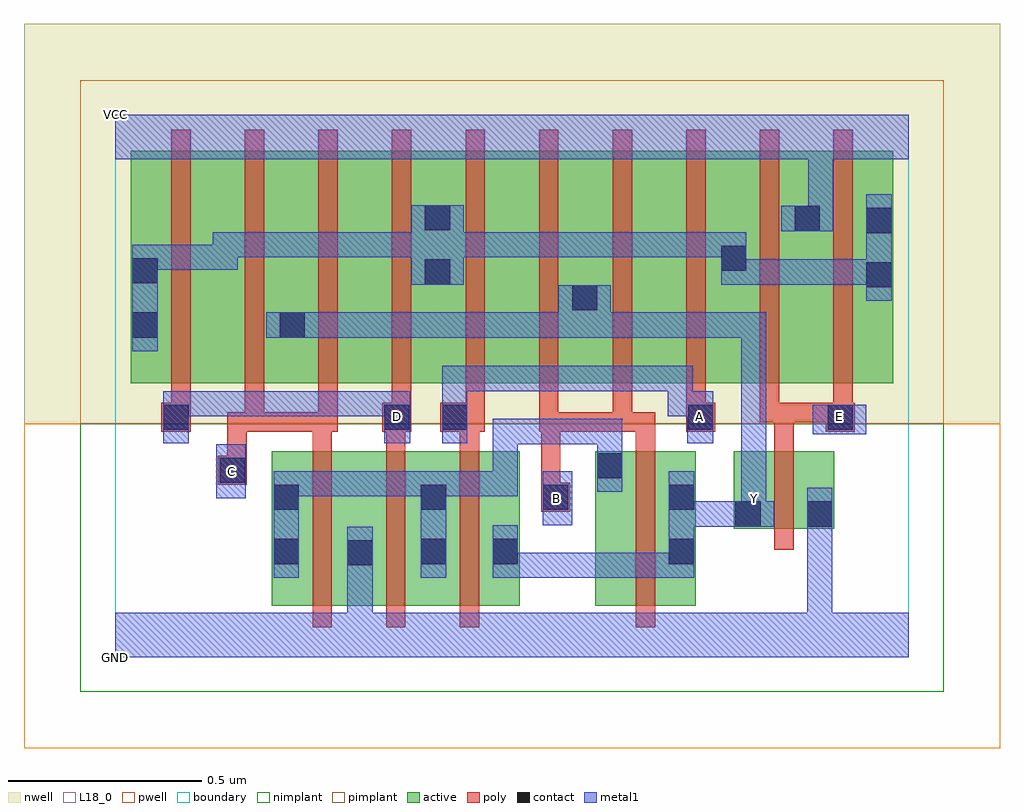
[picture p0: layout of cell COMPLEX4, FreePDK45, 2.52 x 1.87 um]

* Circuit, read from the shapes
.subckt COMPLEX4 A B C D E GND VCC Y
M1 GND C n1 VSUBS nfet w=0.4u l=0.05u
M2 n1 D GND VSUBS nfet w=0.4u l=0.05u
M3 Y A n1 VSUBS nfet w=0.4u l=0.05u
M4 Y B n1 VSUBS nfet w=0.4u l=0.05u
M5 GND E Y VSUBS nfet w=0.2u l=0.05u
M6 n2 D n3 n4 pfet w=0.6u l=0.05u
M7 Y C n2 n4 pfet w=0.6u l=0.05u
M8 n5 C Y n4 pfet w=0.6u l=0.05u
M9 n3 D n5 n4 pfet w=0.6u l=0.05u
M10 n6 A n3 n4 pfet w=0.6u l=0.05u
M11 Y B n6 n4 pfet w=0.6u l=0.05u
M12 n7 B Y n4 pfet w=0.6u l=0.05u
M13 n3 A n7 n4 pfet w=0.6u l=0.05u
M14 VCC E n3 n4 pfet w=0.6u l=0.05u m=2
.ends

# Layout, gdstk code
import gdstk
lib = gdstk.Library(unit=1e-6, precision=1e-09)
def R(c, l, rs):  # rectangles x0, y0, x1, y1
    for r in rs: c.add(gdstk.rectangle(r[:2], r[2:], *l))
def A(c, l, x, y, w, h, nx, ny, dx, dy):  # array of equal rectangles
    R(c, l, [(x+i*dx, y+j*dy, x+i*dx+w, y+j*dy+h) for i in range(nx) for j in range(ny)])
active = (1, 0)
pwell = (2, 0)
nwell = (3, 0)
nimplant = (4, 0)
pimplant = (5, 0)
poly = (9, 0)
contact = (10, 0)
metal1 = (11, 0)
L18_0 = (18, 0)
boundary = (235, 0)

complex4 = lib.new_cell('COMPLEX4')
R(complex4, active, [(0.405,0.132,0.67,0.532), (0.595,0.132,0.86,0.532), (0.595,0.132,0.67,0.492), (0.785,0.132,1.045,0.532), (1.24,0.132,1.5,0.532), (0.405,0.147,0.48,0.532), (0.785,0.147,0.86,0.492), (0.97,0.147,1.045,0.532), (1.24,0.147,1.315,0.532), (1.425,0.147,1.5,0.532), (1.597,0.332,1.672,0.532), (1.597,0.332,1.857,0.532), (1.782,0.332,1.857,0.532), (0.04,0.707,0.265,1.307), (0.04,0.707,0.145,1.2), (0.265,0.707,0.495,1.307), (0.42,0.707,0.495,1.07), (0.42,0.707,0.645,1.307), (0.645,0.707,0.87,1.307), (0.795,0.707,0.87,1.2), (0.795,0.707,1.025,1.307), (1.025,0.707,1.25,1.307), (1.175,0.707,1.405,1.307), (1.175,0.707,1.25,1.07), (1.405,0.707,1.635,1.307), (1.56,0.707,1.635,1.2), (1.56,0.707,1.825,1.307), (1.75,0.707,2.01,1.307), (1.75,0.707,1.825,1.267), (1.935,0.707,2.01,1.2)])
R(complex4, pwell, [(-0.235,-0.235,2.285,0.602)])
R(complex4, nwell, [(-0.235,0.602,2.285,1.635)])
R(complex4, nimplant, [(-0.09,-0.09,2.14,0.602)])
R(complex4, pimplant, [(-0.09,0.602,2.14,1.49)])
A(complex4, poly, 0.51, 0.077, 0.05, 0.51, 3, 1, 0.19, 0)
A(complex4, poly, 0.51, 0.537, 0.05, 0.095, 3, 1, 0.19, 0)
A(complex4, poly, 1.475, 0.607, 0.05, 0.095, 3, 1, 0.19, 0)
A(complex4, poly, 0.145, 0.652, 0.05, 0.71, 10, 1, 0.19, 0)
R(complex4, poly, [(1.345,0.077,1.395,0.587), (1.702,0.277,1.752,0.587), (1.1,0.375,1.175,0.45), (1.1,0.4,1.15,0.45), (1.1,0.4,1.15,0.45), (1.1,0.4,1.15,0.632), (0.265,0.445,0.34,0.52), (0.29,0.47,0.34,0.632), (1.345,0.537,1.395,0.632), (1.702,0.537,1.752,0.657), (0.12,0.582,0.195,0.657), (0.29,0.582,0.355,0.632), (0.305,0.582,0.355,0.632), (0.305,0.582,0.385,0.632), (0.335,0.582,0.385,0.632), (0.335,0.582,0.385,0.632), (0.335,0.582,0.385,0.702), (0.335,0.582,0.56,0.632), (0.51,0.582,0.575,0.632), (0.525,0.582,0.575,0.702), (0.69,0.582,0.765,0.657), (0.84,0.582,0.955,0.657), (1.095,0.582,1.145,0.702), (1.095,0.582,1.15,0.632), (1.1,0.582,1.15,0.632), (1.1,0.582,1.15,0.632), (1.1,0.582,1.335,0.632), (1.285,0.582,1.335,0.702), (1.285,0.582,1.395,0.632), (1.475,0.582,1.55,0.657), (1.835,0.582,1.91,0.657), (0.145,0.607,0.195,0.702), (0.715,0.607,0.765,0.702), (0.905,0.607,0.955,0.702), (1.665,0.607,1.752,0.657), (1.702,0.607,1.885,0.657), (1.702,0.607,1.752,0.657), (1.702,0.607,1.752,0.657)])
R(complex4, contact, [(0.6,0.237,0.665,0.302), (0.41,0.24,0.475,0.305), (0.79,0.24,0.855,0.305), (0.975,0.24,1.04,0.305), (1.43,0.24,1.495,0.305), (1.602,0.337,1.667,0.402), (1.787,0.337,1.852,0.402), (0.41,0.38,0.475,0.445), (0.79,0.38,0.855,0.445), (1.105,0.38,1.17,0.445), (1.43,0.38,1.495,0.445), (0.27,0.45,0.335,0.515), (1.245,0.462,1.31,0.527), (0.125,0.587,0.19,0.652), (0.695,0.587,0.76,0.652), (0.845,0.587,0.91,0.652), (1.48,0.587,1.545,0.652), (1.84,0.587,1.905,0.652), (0.045,0.825,0.11,0.89), (0.425,0.825,0.49,0.89), (1.18,0.895,1.245,0.96), (1.94,0.955,2.005,1.02), (0.8,0.962,0.865,1.027), (0.045,0.965,0.11,1.03), (1.565,0.997,1.63,1.062), (1.94,1.095,2.005,1.16), (1.755,1.1,1.82,1.165), (0.8,1.102,0.865,1.167)])
R(complex4, metal1, [(0,0,2.05,0.115), (0.6,0.05,0.665,0.267), (1.787,0.05,1.852,0.115), (1.787,0.05,1.852,0.115), (1.787,0.05,1.852,0.367), (0.6,0.202,0.665,0.337), (0.41,0.205,0.475,0.48), (0.79,0.205,0.855,0.48), (0.975,0.205,1.04,0.34), (0.975,0.205,1.142,0.27), (1.077,0.205,1.142,0.27), (1.077,0.205,1.28,0.27), (1.215,0.205,1.28,0.27), (1.215,0.205,1.28,0.27), (1.215,0.205,1.28,0.27), (1.215,0.205,1.495,0.27), (1.43,0.205,1.495,0.48), (1.43,0.205,1.495,0.27), (1.43,0.205,1.495,0.27), (1.43,0.205,1.495,0.27), (1.43,0.205,1.495,0.27), (1.787,0.302,1.852,0.367), (1.787,0.302,1.852,0.367), (1.787,0.302,1.852,0.437), (1.43,0.337,1.495,0.402), (1.43,0.337,1.495,0.402), (1.43,0.337,1.632,0.402), (1.567,0.337,1.702,0.402), (1.617,0.337,1.682,0.402), (1.617,0.337,1.682,0.477), (1.105,0.34,1.18,0.48), (0.262,0.41,0.337,0.55), (1.617,0.412,1.682,0.89), (0.41,0.415,0.475,0.48), (0.41,0.415,0.475,0.48), (0.41,0.415,0.662,0.48), (0.597,0.415,0.662,0.48), (0.597,0.415,0.662,0.48), (0.597,0.415,0.662,0.48), (0.597,0.415,0.855,0.48), (0.79,0.415,0.855,0.48), (0.79,0.415,0.855,0.48), (0.79,0.415,1.04,0.48), (0.975,0.415,1.04,0.615), (1.245,0.427,1.31,0.615), (0.975,0.55,1.047,0.615), (0.982,0.55,1.047,0.615), (0.982,0.55,1.31,0.615), (0.125,0.552,0.19,0.687), (0.695,0.552,0.762,0.687), (0.845,0.552,0.91,0.752), (1.477,0.552,1.545,0.687), (1.802,0.575,1.94,0.652), (0.125,0.622,0.317,0.687), (0.252,0.622,0.317,0.687), (0.252,0.622,0.327,0.687), (0.262,0.622,0.327,0.687), (0.262,0.622,0.525,0.687), (0.46,0.622,0.525,0.687), (0.46,0.622,0.525,0.687), (0.46,0.622,0.525,0.687), (0.46,0.622,0.662,0.687), (0.597,0.622,0.662,0.687), (0.597,0.622,0.76,0.687), (1.427,0.622,1.542,0.687), (1.427,0.622,1.492,0.752), (0.845,0.687,1.047,0.752), (0.982,0.687,1.047,0.752), (0.982,0.687,1.047,0.752), (0.982,0.687,1.047,0.752), (0.982,0.687,1.355,0.752), (1.29,0.687,1.355,0.752), (1.29,0.687,1.355,0.752), (1.29,0.687,1.355,0.752), (1.29,0.687,1.492,0.752), (0.045,0.79,0.11,1.065), (0.39,0.825,0.525,0.89), (0.46,0.825,0.525,0.89), (0.46,0.825,0.525,0.89), (0.46,0.825,0.692,0.89), (0.627,0.825,0.692,0.89), (0.627,0.825,0.692,0.89), (0.627,0.825,0.692,0.89), (0.627,0.825,0.895,0.89), (0.83,0.825,0.895,0.89), (0.83,0.825,0.895,0.89), (0.83,0.825,0.895,0.89), (0.83,0.825,1.072,0.89), (1.007,0.825,1.072,0.89), (1.007,0.825,1.072,0.89), (1.007,0.825,1.072,0.89), (1.007,0.825,1.21,0.89), (1.145,0.825,1.28,0.96), (1.215,0.825,1.28,0.89), (1.215,0.825,1.28,0.89), (1.215,0.825,1.492,0.89), (1.427,0.825,1.492,0.89), (1.427,0.825,1.492,0.89), (1.427,0.825,1.492,0.89), (1.427,0.825,1.682,0.89), (1.617,0.825,1.682,0.89), (1.94,0.92,2.005,1.195), (0.765,0.962,0.9,1.167), (1.565,0.962,1.63,1.097), (1.565,0.962,1.682,1.027), (1.617,0.962,1.682,1.027), (1.617,0.962,1.84,1.027), (1.775,0.962,2.005,1.027), (1.775,0.962,1.84,1.027), (1.775,0.962,1.84,1.027), (1.775,0.962,1.84,1.027), (1.775,0.962,1.84,1.027), (1.775,0.962,1.84,1.027), (0.045,1,0.11,1.065), (0.045,1,0.11,1.065), (0.045,1,0.317,1.065), (0.252,1,0.317,1.065), (0.252,1,0.317,1.097), (0.252,1.032,0.317,1.097), (0.252,1.032,0.327,1.097), (0.262,1.032,0.327,1.097), (0.262,1.032,0.525,1.097), (0.46,1.032,0.525,1.097), (0.46,1.032,0.525,1.097), (0.46,1.032,0.525,1.097), (0.46,1.032,0.662,1.097), (0.597,1.032,0.662,1.097), (0.597,1.032,0.662,1.097), (0.597,1.032,0.662,1.097), (0.597,1.032,0.83,1.097), (0.835,1.032,0.9,1.097), (0.835,1.032,0.9,1.097), (0.835,1.032,1.072,1.097), (1.007,1.032,1.072,1.097), (1.007,1.032,1.072,1.097), (1.007,1.032,1.072,1.097), (1.007,1.032,1.355,1.097), (1.29,1.032,1.355,1.097), (1.29,1.032,1.355,1.097), (1.29,1.032,1.355,1.097), (1.29,1.032,1.492,1.097), (1.427,1.032,1.492,1.097), (1.427,1.032,1.492,1.097), (1.427,1.032,1.492,1.097), (1.427,1.032,1.63,1.097), (1.72,1.1,1.855,1.165), (1.79,1.1,1.855,1.35), (0,1.285,2.05,1.4)])
R(complex4, L18_0, [(0,0,2.05,0.115), (0.6,0.05,0.665,0.267), (1.787,0.05,1.852,0.115), (1.787,0.05,1.852,0.115), (1.787,0.05,1.852,0.367), (0.6,0.202,0.665,0.337), (0.975,0.205,1.04,0.34), (0.975,0.205,1.142,0.27), (1.077,0.205,1.142,0.27), (1.077,0.205,1.28,0.27), (1.215,0.205,1.28,0.27), (1.215,0.205,1.28,0.27), (1.215,0.205,1.28,0.27), (1.215,0.205,1.495,0.27), (1.43,0.205,1.495,0.27), (1.43,0.205,1.495,0.27), (1.43,0.205,1.495,0.27), (1.43,0.205,1.495,0.27), (1.43,0.205,1.495,0.48), (1.787,0.302,1.852,0.437), (1.787,0.302,1.852,0.367), (1.787,0.302,1.852,0.367), (1.43,0.337,1.495,0.402), (1.43,0.337,1.495,0.402), (1.43,0.337,1.632,0.402), (1.567,0.337,1.702,0.402), (1.617,0.337,1.682,0.402), (1.617,0.337,1.682,0.477), (1.105,0.34,1.18,0.48), (1.107,0.377,1.172,0.442), (1.617,0.377,1.682,0.442), (0.262,0.41,0.337,0.55), (1.617,0.412,1.682,0.89), (0.267,0.447,0.332,0.512), (0.125,0.552,0.19,0.687), (0.695,0.552,0.762,0.687), (0.845,0.552,0.91,0.752), (1.477,0.552,1.545,0.687), (1.802,0.575,1.94,0.652), (0.697,0.587,0.762,0.652), (1.477,0.587,1.542,0.652), (1.837,0.587,1.902,0.652), (0.125,0.622,0.317,0.687), (0.252,0.622,0.317,0.687), (0.252,0.622,0.327,0.687), (0.262,0.622,0.327,0.687), (0.262,0.622,0.525,0.687), (0.46,0.622,0.525,0.687), (0.46,0.622,0.525,0.687), (0.46,0.622,0.525,0.687), (0.46,0.622,0.662,0.687), (0.597,0.622,0.662,0.687), (0.597,0.622,0.76,0.687), (1.427,0.622,1.492,0.752), (1.427,0.622,1.542,0.687), (0.845,0.687,1.047,0.752), (0.982,0.687,1.047,0.752), (0.982,0.687,1.047,0.752), (0.982,0.687,1.047,0.752), (0.982,0.687,1.355,0.752), (1.29,0.687,1.355,0.752), (1.29,0.687,1.355,0.752), (1.29,0.687,1.355,0.752), (1.29,0.687,1.492,0.752), (0.39,0.825,0.525,0.89), (0.46,0.825,0.525,0.89), (0.46,0.825,0.525,0.89), (0.46,0.825,0.692,0.89), (0.627,0.825,0.692,0.89), (0.627,0.825,0.692,0.89), (0.627,0.825,0.692,0.89), (0.627,0.825,0.895,0.89), (0.83,0.825,0.895,0.89), (0.83,0.825,0.895,0.89), (0.83,0.825,0.895,0.89), (0.83,0.825,1.072,0.89), (1.007,0.825,1.072,0.89), (1.007,0.825,1.072,0.89), (1.007,0.825,1.072,0.89), (1.007,0.825,1.21,0.89), (1.145,0.825,1.28,0.96), (1.215,0.825,1.28,0.89), (1.215,0.825,1.28,0.89), (1.215,0.825,1.492,0.89), (1.427,0.825,1.492,0.89), (1.427,0.825,1.492,0.89), (1.427,0.825,1.492,0.89), (1.427,0.825,1.682,0.89), (1.617,0.825,1.682,0.89), (1.72,1.1,1.855,1.165), (1.79,1.1,1.855,1.35), (0,1.285,2.05,1.4)])
R(complex4, boundary, [(0,0,2.05,1.4)])
complex4.add(gdstk.Label('A', (1.51,0.62), layer=11, texttype=0))
complex4.add(gdstk.Label('B', (1.14,0.41), layer=11, texttype=0))
complex4.add(gdstk.Label('C', (0.3,0.48), layer=11, texttype=0))
complex4.add(gdstk.Label('D', (0.73,0.62), layer=11, texttype=0))
complex4.add(gdstk.Label('E', (1.87,0.62), layer=11, texttype=0))
complex4.add(gdstk.Label('Y', (1.65,0.41), layer=11, texttype=0))
complex4.add(gdstk.Label('VCC', (0,1.4), layer=11, texttype=0))
complex4.add(gdstk.Label('GND', (0,0), layer=11, texttype=0))

lib.write_gds('COMPLEX4.gds')
